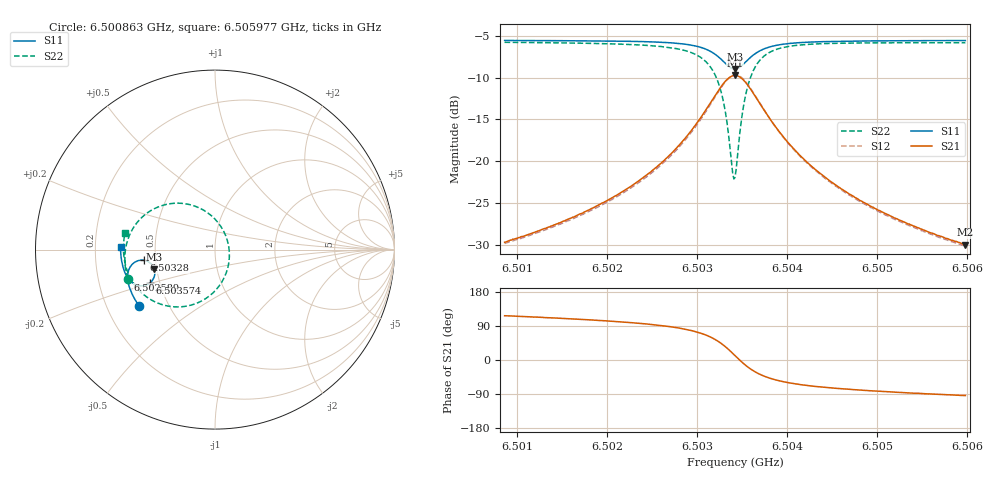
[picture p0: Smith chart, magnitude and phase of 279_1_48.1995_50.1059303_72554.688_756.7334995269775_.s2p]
#  HZ  S  RI  R  50.00
! Rohde & Schwarz Vector Network Analyzer
! Rohde-Schwarz,ZNB20-2Port,1311601062101988,3.16
! Created: UTC 3/20/2024, 11:48:35 AM
! freq[Hz]  re:S11  im:S11  re:S21  im:S21  re:S12  im:S12  re:S22  im:S22
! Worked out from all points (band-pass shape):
!   401 points, 6.500863 GHz to 6.505977 GHz, reference 50 ohm
!   highest |S21| = -9.74 dB at 6.50342 GHz (marker M1); lowest = -29.9 dB at 6.505977 GHz (marker M2)
!   |S21| within 3 dB of the highest: 6.503164 GHz to 6.503675 GHz (511.8 kHz wide, 0.00787 % of centre)
!   lowest |S11| = -9.0 dB at 6.50342 GHz (marker M3), VSWR 2.10, Z = 24.2 - j6.04 ohm
!   |S11| at or under -10 dB: nowhere
!   |S22| runs from -22.1 to -5.8 dB; largest |S21 - S12| = 0.011
!   S11 on the Smith chart (normalised r, x): 6.500863 GHz: 0.34, -0.30; 6.502589 GHz: 0.33, -0.15; 6.50328 GHz: 0.43, -0.06; 6.503574 GHz: 0.44, -0.20; 6.505977 GHz: 0.31, +0.01
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6.5008633e9  -0.4222 -0.3147  -0.0149 0.0294  -0.0133 0.0295  -0.4873 -0.162
6.5017198e9  -0.4597 -0.252  -0.0143 0.0468  -0.0121 0.0465  -0.5019 -0.0722
6.5021801e9  -0.4762 -0.2119  -0.0116 0.0653  -0.00882 0.0643  -0.5 -0.00825
6.5025764e9  -0.486 -0.1688  -0.00283 0.0951  0.000852 0.0929  -0.4809 0.069
6.5025892e9  -0.4862 -0.1672  -0.00221 0.0965  0.00133 0.0942  -0.4797 0.072
6.5028321e9  -0.4853 -0.132  0.0162 0.1295  0.0199 0.1258  -0.4411 0.1416
6.5030111e9  -0.4738 -0.0988  0.051 0.1658  0.0541 0.1603  -0.3725 0.2077
6.5031773e9  -0.439 -0.0659  0.1287 0.1988  0.1298 0.1924  -0.2297 0.258
6.5032795e9  -0.3962 -0.0592  0.2139 0.1896  0.2141 0.1842  -0.0816 0.2292
6.5033307e9  -0.3709 -0.068  0.2621 0.1614  0.2627 0.1568  -0.00151 0.1714
6.5033946e9  -0.3445 -0.0944  0.3091 0.0979  0.3116 0.0929  0.0692 0.0492
6.5034202e9  -0.3383 -0.1089  0.3191 0.0658  0.3221 0.06  0.0796 -0.0103
6.503433e9  -0.3365 -0.1165  0.3215 0.0492  0.3248 0.0429  0.08 -0.0407
6.5035097e9  -0.3426 -0.1611  0.3042 -0.0446  0.3062 -0.0543  0.0217 -0.2046
6.5035736e9  -0.3637 -0.1866  0.2616 -0.0979  0.2605 -0.1089  -0.0743 -0.286
6.5036759e9  -0.4029 -0.2015  0.1878 -0.1335  0.1824 -0.1427  -0.2225 -0.3191
6.5038421e9  -0.4485 -0.1917  0.1071 -0.1304  0.1001 -0.1352  -0.3677 -0.2725
6.504021e9  -0.4757 -0.1703  0.0631 -0.1106  0.057 -0.1127  -0.439 -0.2082
6.5042767e9  -0.4961 -0.1403  0.0335 -0.0866  0.029 -0.087  -0.4817 -0.1367
6.5046603e9  -0.5118 -0.1006  0.0148 -0.0637  0.0115 -0.0632  -0.5039 -0.0621
6.5051333e9  -0.5211 -0.0572  0.00492 -0.0474  0.00266 -0.0467  -0.5099 0.00357
6.5059771e9  -0.5259 0.0138  -0.00207 -0.0318  -0.00334 -0.031  -0.5017 0.0918
